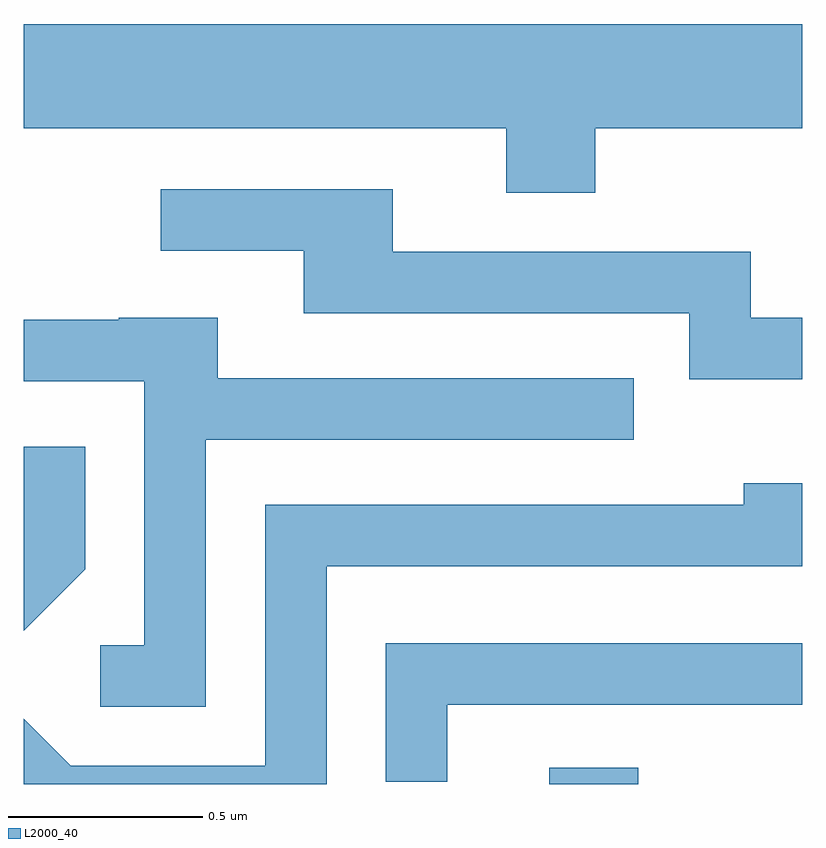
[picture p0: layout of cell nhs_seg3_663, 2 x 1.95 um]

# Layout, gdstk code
import gdstk
lib = gdstk.Library(unit=1e-6, precision=1e-09)
def R(c, l, rs):  # rectangles x0, y0, x1, y1
    for r in rs: c.add(gdstk.rectangle(r[:2], r[2:], *l))
def P(c, l, *ps):  # polygons
    for p in ps: c.add(gdstk.Polygon(p, *l))
L2000_40 = (2000, 40)

nhs_seg3_663 = lib.new_cell('nhs_seg3_663')
R(nhs_seg3_663, L2000_40, [(190.961,1230.892,191.189,1230.934)])
P(nhs_seg3_663, L2000_40, [(191.079,1232.576),(191.611,1232.576),(191.611,1232.844),(189.611,1232.844),(189.611,1232.576),(190.851,1232.576),(190.851,1232.411),(191.079,1232.411)],
  [(191.611,1232.089),(191.479,1232.089),(191.479,1232.259),(190.559,1232.259),(190.559,1232.419),(189.963,1232.419),(189.963,1232.261),(190.331,1232.261),(190.331,1232.101),(191.321,1232.101),(191.321,1231.931),(191.611,1231.931)],
  [(190.079,1231.776),(191.178,1231.776),(191.178,1231.934),(190.109,1231.934),(190.109,1232.089),(189.855,1232.089),(189.855,1232.084),(189.611,1232.084),(189.611,1231.926),(189.921,1231.926),(189.921,1231.249),(189.808,1231.249),(189.808,1231.091),(190.079,1231.091)],
  [(189.769,1231.444),(189.769,1231.758),(189.611,1231.758),(189.611,1231.285)],
  [(190.389,1231.451),(191.611,1231.451),(191.611,1231.664),(191.461,1231.664),(191.461,1231.609),(190.231,1231.609),(190.231,1230.939),(189.732,1230.939),(189.611,1231.06),(189.611,1230.892),(190.389,1230.892)],
  [(190.699,1231.096),(191.611,1231.096),(191.611,1231.254),(190.541,1231.254),(190.541,1230.898),(190.699,1230.898)])

lib.write_gds('nhs_seg3_663.gds')
